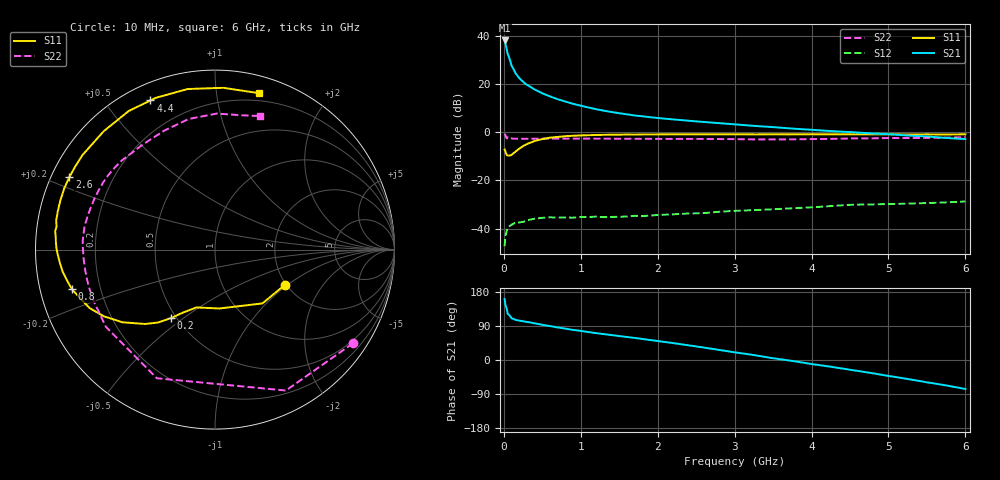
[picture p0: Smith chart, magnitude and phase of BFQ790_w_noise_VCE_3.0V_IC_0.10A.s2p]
! Infineon Technologies  Discrete & RF Semiconductors
! BFQ790
! VCE =  3.0 V,  IC = 0.10 A
! Common Emitter S-Parameters:  May 2015
# GHz  S  MA  R  50
!  f  S11  S21  S12  S22
! GHz  MAG  ANG  MAG  ANG  MAG  ANG  MAG  ANG
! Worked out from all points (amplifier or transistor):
!   77 points, 10 MHz to 6 GHz, reference 50 ohm
!   highest |S21| = 38.1 dB at 10 MHz (marker M1)
!   |S21| within 3 dB of that: start of sweep to 33.07 MHz
!   unconditionally stable (mu >= 1): 1.224 GHz to end of sweep
!   at 130 MHz: K = 0.69, MSG = 31.9 dB, |S12| = -37.9 dB
!   at 2.2 GHz: K = 1.23, MAG = 16.9 dB, |S12| = -34.1 dB
!   at 6 GHz: K = 1.24, MAG = 10.0 dB, |S12| = -28.8 dB
!   lowest NFmin = 2.59 dB at 1.5 GHz
!   S11 on the Smith chart (normalised r, x): 10 MHz: 1.98, -0.95; 200 MHz: 0.47, -0.45; 800 MHz: 0.10, -0.13; 2.6 GHz: 0.05, +0.23; 4.4 GHz: 0.07, +0.65; 6 GHz: 0.14, +1.31
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0.01  0.4369 -26.5  80.58 161.2  0.0043 66.4  0.9289 -34.2
0.02  0.3997 -48.6  70.25 145.6  0.0069 54.1  0.879 -63.3
0.05  0.329 -85.7  42.58 121.9  0.0106 31.2  0.7865 -114.3
0.1  0.3387 -107.9  24.11 110.0  0.012 20.7  0.7448 -144.7
0.15  0.3932 -116.9  17.01 106.1  0.0132 20.6  0.7342 -157.0
0.2  0.4557 -122.9  13.37 103.8  0.0134 18.6  0.7331 -163.7
0.25  0.5166 -128.1  11.17 102.2  0.0137 18.4  0.732 -167.9
0.3  0.5685 -133.2  9.628 100.4  0.0149 14.4  0.732 -171.2
0.4  0.6572 -142.0  7.712 96.7  0.016 13.6  0.7337 -175.8
0.5  0.722 -149.0  6.441 93.0  0.0167 12.5  0.735 -179.3
0.6  0.7708 -155.0  5.551 89.5  0.0171 9.7  0.7381 178.0
0.7  0.7991 -160.3  4.85 85.9  0.0169 10.7  0.7383 175.7
0.8  0.8273 -164.5  4.338 82.7  0.0169 6.2  0.7378 173.9
1.1  0.8678 -175.3  3.258 73.7  0.0173 5.5  0.7372 168.7
1.5  0.8902 175.4  2.483 63.2  0.0176 3.9  0.7315 163.2
2.1  0.9024 164.1  1.91 47.4  0.0194 2.9  0.7275 154.6
2.6  0.9066 153.6  1.634 32.8  0.0209 -0.2  0.7253 145.2
3.1  0.9038 142.2  1.416 17.4  0.0236 -6.5  0.7145 134.0
4.1  0.9067 119.8  1.096 -13.5  0.0282 -18.0  0.7225 110.7
4.4  0.9055 113.4  1.027 -22.5  0.0304 -23.1  0.7355 103.7
5.1  0.9031 97.2  0.888 -45.2  0.0325 -36.0  0.7569 87.2
6  0.9053 74.3  0.721 -76.6  0.0364 -54.9  0.7855 71.3
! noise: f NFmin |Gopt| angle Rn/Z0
0.45  3.96  0.39  132  0.4
0.9  2.84  0.53  163  0.14
1.5  2.59  0.65  -175  0.07
1.8  2.71  0.67  -170  0.08
2.6  3.14  0.72  -153  0.2
3.5  3.78  0.82  -136  0.49
